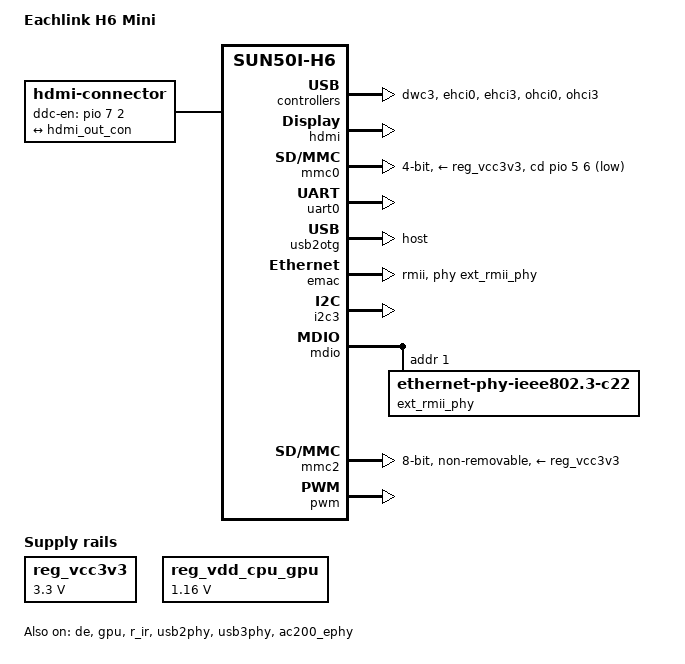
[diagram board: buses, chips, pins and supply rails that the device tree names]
// SPDX-License-Identifier: (GPL-2.0+ OR MIT)
// Copyright (c) 2019 Jernej Skrabec <jernej.skrabec@siol.net>

/dts-v1/;

#include "sun50i-h6.dtsi"
#include "sun50i-h6-cpu-opp.dtsi"

#include <dt-bindings/gpio/gpio.h>

/ {
	model = "Eachlink H6 Mini";
	compatible = "eachlink,h6mini", "allwinner,sun50i-h6";

	aliases {
		ethernet0 = &emac;
		serial0 = &uart0;
	};

	chosen {
		stdout-path = "serial0:115200n8";
	};

	connector {
		compatible = "hdmi-connector";
		ddc-en-gpios = <&pio 7 2 GPIO_ACTIVE_HIGH>; /* PH2 */
		type = "a";

		port {
			hdmi_con_in: endpoint {
				remote-endpoint = <&hdmi_out_con>;
			};
		};
	};

	reg_vcc3v3: vcc3v3 {
		compatible = "regulator-fixed";
		regulator-name = "vcc3v3";
		regulator-min-microvolt = <3300000>;
		regulator-max-microvolt = <3300000>;
	};

	reg_vdd_cpu_gpu: vdd-cpu-gpu {
		compatible = "regulator-fixed";
		regulator-name = "vdd-cpu-gpu";
		regulator-min-microvolt = <1160000>;
		regulator-max-microvolt = <1160000>;
	};
};

&cpu0 {
	cpu-supply = <&reg_vdd_cpu_gpu>;
};

&cpu_opp_table {
	opp@1896000000 {
		clock-latency-ns = <244144>; /* 8 32k periods */
		opp-hz = /bits/ 64 <1896000000>;

		opp-microvolt-speed0 = <1160000 1160000 1200000>;
		opp-microvolt-speed1 = <1100000 1100000 1200000>;
		opp-microvolt-speed2 = <1100000 1100000 1200000>;
		turbo-mode;
	};
	opp@1992000000 {
		clock-latency-ns = <244144>; /* 8 32k periods */
		opp-hz = /bits/ 64 <1992000000>;

		opp-microvolt-speed0 = <1160000 1160000 1200000>;
		opp-microvolt-speed1 = <1100000 1100000 1200000>;
		opp-microvolt-speed2 = <1100000 1100000 1200000>;
		turbo-mode;
	};
};

&de {
	status = "okay";
};

&dwc3 {
	status = "okay";
};

&ehci0 {
	status = "okay";
};

&ehci3 {
	status = "okay";
};

&gpu {
	mali-supply = <&reg_vdd_cpu_gpu>;
	status = "okay";
};

&hdmi {
	status = "okay";
};

&hdmi_out {
	hdmi_out_con: endpoint {
		remote-endpoint = <&hdmi_con_in>;
	};
};

&mmc0 {
	pinctrl-names = "default";
	pinctrl-0 = <&mmc0_pins>;
	vmmc-supply = <&reg_vcc3v3>;
	cd-gpios = <&pio 5 6 GPIO_ACTIVE_LOW>;
	bus-width = <4>;
	status = "okay";
};

&ohci0 {
	status = "okay";
};

&ohci3 {
	status = "okay";
};

&r_ir {
	linux,rc-map-name = "rc-tanix-tx5max";
	status = "okay";
};

&uart0 {
	pinctrl-names = "default";
	pinctrl-0 = <&uart0_ph_pins>;
	status = "okay";
};

&usb2otg {
	dr_mode = "host";
	status = "okay";
};

&usb2phy {
	status = "okay";
};

&usb3phy {
	status = "okay";
};

&ac200_ephy {
	status = "okay";
};

&ac200_pwm_clk {
	status = "okay";
};

&emac {
	pinctrl-names = "default";
	pinctrl-0 = <&ext_rmii_pins>;
	phy-mode = "rmii";
	phy-handle = <&ext_rmii_phy>;
	status = "okay";
};

&i2c3 {
	status = "okay";
};

&mdio {
	ext_rmii_phy: ethernet-phy@1 {
		compatible = "ethernet-phy-ieee802.3-c22";
		reg = <1>;
	};
};

&mmc2 {
	pinctrl-names = "default";
	pinctrl-0 = <&mmc2_pins>;
	vmmc-supply = <&reg_vcc3v3>;
	vqmmc-supply = <&reg_vcc3v3>;
	non-removable;
	cap-mmc-hw-reset;
	bus-width = <8>;
	status = "okay";
};

&pwm {
	status = "okay";
};
